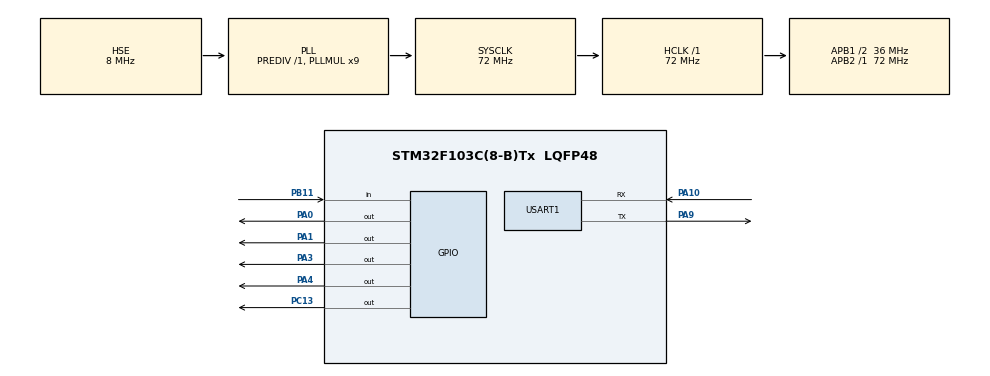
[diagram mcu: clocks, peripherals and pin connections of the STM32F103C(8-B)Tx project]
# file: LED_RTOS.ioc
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FREERTOS.Tasks01=ledTask,25,128,StartLedTask,Default,NULL,Dynamic,NULL,NULL;keyTask,26,128,StartKeyTask,Default,NULL,Dynamic,NULL,NULL;uartTask,27,256,StartUartTask,Default,NULL,Dynamic,NULL,NULL
Mcu.Family=STM32F1
Mcu.Name=STM32F103C(8-B)Tx
Mcu.Package=LQFP48
NVIC.PriorityGroup=NVIC_PRIORITYGROUP_4
NVIC.TIM2_IRQn=true\:15\:0\:false\:false\:true\:false\:false\:true\:true
NVIC.TimeBase=TIM2_IRQn
NVIC.TimeBaseIP=TIM2
NVIC.USART1_IRQn=true\:5\:0\:false\:false\:true\:true\:true\:true\:true
PA0-WKUP.Signal=GPIO_Output
PA1.Signal=GPIO_Output
PA10.Mode=Asynchronous
PA10.Signal=USART1_RX
PA13.Mode=Serial_Wire
PA13.Signal=SYS_JTMS-SWDIO
PA14.Mode=Serial_Wire
PA14.Signal=SYS_JTCK-SWCLK
PA3.Signal=GPIO_Output
PA4.Signal=GPIO_Output
PA9.Mode=Asynchronous
PA9.Signal=USART1_TX
PB11.GPIO_PuPd=GPIO_PULLUP
PB11.Signal=GPIO_Input
PC13-TAMPER-RTC.Signal=GPIO_Output
PC14-OSC32_IN.Mode=LSE-External-Oscillator
PC14-OSC32_IN.Signal=RCC_OSC32_IN
PC15-OSC32_OUT.Mode=LSE-External-Oscillator
PC15-OSC32_OUT.Signal=RCC_OSC32_OUT
PD0-OSC_IN.Mode=HSE-External-Oscillator
PD0-OSC_IN.Signal=RCC_OSC_IN
PD1-OSC_OUT.Mode=HSE-External-Oscillator
PD1-OSC_OUT.Signal=RCC_OSC_OUT
ProjectManager.HeapSize=0x200
ProjectManager.StackSize=0x400
ProjectManager.TargetToolchain=CMake
RCC.AHBFreq_Value=72000000
RCC.APB1CLKDivider=RCC_HCLK_DIV2
RCC.APB1Freq_Value=36000000
RCC.APB1TimFreq_Value=72000000
RCC.APB2Freq_Value=72000000
RCC.APB2TimFreq_Value=72000000
RCC.HCLKFreq_Value=72000000
RCC.PLLMUL=RCC_PLL_MUL9
RCC.PLLSourceVirtual=RCC_PLLSOURCE_HSE
RCC.SYSCLKFreq_VALUE=72000000
RCC.SYSCLKSource=RCC_SYSCLKSOURCE_PLLCLK
RCC.USBFreq_Value=72000000
USART1.VirtualMode=VM_ASYNC
VP_FREERTOS_VS_CMSIS_V2.Mode=CMSIS_V2
VP_SYS_VS_tim2.Mode=TIM2
board=custom

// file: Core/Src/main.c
/* USER CODE BEGIN Header */
/**
  ******************************************************************************
  * @file           : main.c
  * @brief          : Main program body
  ******************************************************************************
  * @attention
  *
  * Copyright (c) 2026 STMicroelectronics.
  * All rights reserved.
  *
  * This software is licensed under terms that can be found in the LICENSE file
  * in the root directory of this software component.
  * If no LICENSE file comes with this software, it is provided AS-IS.
  *
  ******************************************************************************
  */
/* USER CODE END Header */
#include "main.h"
#include "cmsis_os.h"
#include "usart.h"
#include "gpio.h"

void SystemClock_Config(void);
void MX_FREERTOS_Init(void);

int main(void)
{

  /* MCU Configuration--------------------------------------------------------*/

  /* Reset of all peripherals, Initializes the Flash interface and the Systick. */
  HAL_Init();

  /* Configure the system clock */
  SystemClock_Config();

  /* Initialize all configured peripherals */
  MX_GPIO_Init();
  MX_USART1_UART_Init();

  /* Init scheduler */
  osKernelInitialize();  /* Call init function for freertos objects (in cmsis_os2.c) */
  MX_FREERTOS_Init();

  /* Start scheduler */
  osKernelStart();

  /* We should never get here as control is now taken by the scheduler */

  /* Infinite loop */
  while (1)
  {

  }
}

void SystemClock_Config(void)
{
  RCC_OscInitTypeDef RCC_OscInitStruct = {0};
  RCC_ClkInitTypeDef RCC_ClkInitStruct = {0};

  /** Initializes the RCC Oscillators according to the specified parameters
  * in the RCC_OscInitTypeDef structure.
  */
  RCC_OscInitStruct.OscillatorType = RCC_OSCILLATORTYPE_HSE;
  RCC_OscInitStruct.HSEState = RCC_HSE_ON;
  RCC_OscInitStruct.HSEPredivValue = RCC_HSE_PREDIV_DIV1;
  RCC_OscInitStruct.HSIState = RCC_HSI_ON;
  RCC_OscInitStruct.PLL.PLLState = RCC_PLL_ON;
  RCC_OscInitStruct.PLL.PLLSource = RCC_PLLSOURCE_HSE;
  RCC_OscInitStruct.PLL.PLLMUL = RCC_PLL_MUL9;
  if (HAL_RCC_OscConfig(&RCC_OscInitStruct) != HAL_OK)
  {
    Error_Handler();
  }

  /** Initializes the CPU, AHB and APB buses clocks
  */
  RCC_ClkInitStruct.ClockType = RCC_CLOCKTYPE_HCLK|RCC_CLOCKTYPE_SYSCLK
                              |RCC_CLOCKTYPE_PCLK1|RCC_CLOCKTYPE_PCLK2;
  RCC_ClkInitStruct.SYSCLKSource = RCC_SYSCLKSOURCE_PLLCLK;
  RCC_ClkInitStruct.AHBCLKDivider = RCC_SYSCLK_DIV1;
  RCC_ClkInitStruct.APB1CLKDivider = RCC_HCLK_DIV2;
  RCC_ClkInitStruct.APB2CLKDivider = RCC_HCLK_DIV1;

  if (HAL_RCC_ClockConfig(&RCC_ClkInitStruct, FLASH_LATENCY_2) != HAL_OK)
  {
    Error_Handler();
  }
}

void HAL_TIM_PeriodElapsedCallback(TIM_HandleTypeDef *htim)
{
  if (htim->Instance == TIM2)
  {
    HAL_IncTick();
  }
}

void Error_Handler(void)
{
  __disable_irq();
  while (1)
  {
  }
}

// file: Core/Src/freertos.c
/* USER CODE BEGIN Header */
/**
  ******************************************************************************
  * File Name          : freertos.c
  * Description        : Code for freertos applications
  ******************************************************************************
  * @attention
  *
  * Copyright (c) 2026 STMicroelectronics.
  * All rights reserved.
  *
  * This software is licensed under terms that can be found in the LICENSE file
  * in the root directory of this software component.
  * If no LICENSE file comes with this software, it is provided AS-IS.
  *
  ******************************************************************************
  */
/* USER CODE END Header */

#include "FreeRTOS.h"
#include "task.h"
#include "main.h"
#include "cmsis_os.h"

/* USER CODE BEGIN Includes */
#include "usart.h"
#include <string.h>

/* USER CODE END Includes */

/* USER CODE BEGIN Variables */

// 串口接收字符队列
static osMessageQueueId_t uartRxQueueHandle;

// HAL 串口单字节接收缓冲区
static uint8_t uartRxByte;

// 0 = 全灭；1 = 流水
static volatile uint8_t g_ledMode = 1;
/* USER CODE END Variables */
/* Definitions for ledTask */
osThreadId_t ledTaskHandle;
const osThreadAttr_t ledTask_attributes = {
  .name = "ledTask",
  .stack_size = 128 * 4,
  .priority = (osPriority_t) osPriorityNormal1,
};
/* Definitions for keyTask */
osThreadId_t keyTaskHandle;
const osThreadAttr_t keyTask_attributes = {
  .name = "keyTask",
  .stack_size = 128 * 4,
  .priority = (osPriority_t) osPriorityNormal2,
};
/* Definitions for uartTask */
osThreadId_t uartTaskHandle;
const osThreadAttr_t uartTask_attributes = {
  .name = "uartTask",
  .stack_size = 256 * 4,
  .priority = (osPriority_t) osPriorityNormal3,
};

void StartLedTask(void *argument);
void StartKeyTask(void *argument);
void StartUartTask(void *argument);

void MX_FREERTOS_Init(void); /* (MISRA C 2004 rule 8.1) */

void MX_FREERTOS_Init(void) {

  /* USER CODE BEGIN RTOS_MUTEX */
  uartRxQueueHandle = osMessageQueueNew(64, sizeof(uint8_t), NULL);
   //创建一个消息队列，长度为64，元素大小为uint8_t
  if (uartRxQueueHandle == NULL)
  {
      Error_Handler();
  }

  /* add mutexes, ... */
  /* USER CODE END RTOS_MUTEX */

  /* Create the thread(s) */
  /* creation of ledTask */
  ledTaskHandle = osThreadNew(StartLedTask, NULL, &ledTask_attributes);

  /* creation of keyTask */
  keyTaskHandle = osThreadNew(StartKeyTask, NULL, &keyTask_attributes);

  /* creation of uartTask */
  uartTaskHandle = osThreadNew(StartUartTask, NULL, &uartTask_attributes);

}

void StartLedTask(void *argument)
{
  /* USER CODE BEGIN StartLedTask */

  const uint16_t flowPins[6]= {GPIO_PIN_0,
                              GPIO_PIN_1,
                              GPIO_PIN_3,
                              GPIO_PIN_4,
                              GPIO_PIN_3,
                              GPIO_PIN_1};
  const uint16_t allLeds =
        GPIO_PIN_0 | GPIO_PIN_1 |
        GPIO_PIN_3 | GPIO_PIN_4;

  uint8_t i = 0;
  /* Infinite loop */
  for(;;)
  {
    if(g_ledMode == 1)
    {
      HAL_GPIO_WritePin(GPIOA, allLeds, GPIO_PIN_SET);
      HAL_GPIO_WritePin(GPIOA, flowPins[i], GPIO_PIN_RESET);
      i=(i+1)%6;
      osDelay(300);
    }
    else
    {
      HAL_GPIO_WritePin(GPIOA, allLeds, GPIO_PIN_SET);
      osDelay(1000);
      HAL_GPIO_WritePin(GPIOA, allLeds, GPIO_PIN_RESET);
      osDelay(1000);
    }

  }
  /* USER CODE END StartLedTask */
}

void StartKeyTask(void *argument)
{
  /* USER CODE BEGIN StartKeyTask */

  /* Infinite loop */
  for (;;)
  {
      if (HAL_GPIO_ReadPin(GPIOB, GPIO_PIN_11) == GPIO_PIN_RESET)
      {
          // 2. 软件消抖：等 20ms
          osDelay(20);

          // 3. 再次确认是不是真的按下了
          if (HAL_GPIO_ReadPin(GPIOB, GPIO_PIN_11) == GPIO_PIN_RESET)
          {
              g_ledMode = 1 - g_ledMode;

          }
      }
      while(HAL_GPIO_ReadPin(GPIOB, GPIO_PIN_11) == GPIO_PIN_RESET)
      {
        osDelay(10);//
      }
      osDelay(10);
  }
  /* USER CODE END StartKeyTask */
}

void StartUartTask(void *argument)
{
  /* USER CODE BEGIN StartUartTask */
  uint8_t rx;              // 临时工：用来接从队列里拿出来的一瞬间的那个字节
  char command[20];        // 组装台：把接收到的散字符拼成完整的指令
  uint8_t index = 0;       // 进度条：记录组装台里放了多少个字符了
  uint8_t overflow = 0;    // 报警器：记录是不是有捣乱的超长指令
  // 启动第一次串口接收
  if (HAL_UART_Receive_IT(
          &huart1, &uartRxByte, 1) != HAL_OK)
  {
      Error_Handler();
  }
  /* Infinite loop */
  for (;;)
  {
      // 没有数据时，任务阻塞等待
      if (osMessageQueueGet(
              uartRxQueueHandle,
              &rx,
              NULL,
              osWaitForever) == osOK)
      {
          if (rx == '\r' || rx == '\n')
          {
              if (!overflow && index > 0)
              {
                  command[index] = '\0';

                  if (strcmp(command, "LED_FLOW") == 0)
                  {
                      g_ledMode = 1;
                  }
                  else if (strcmp(command, "LED_Blink") == 0)
                  {
                      g_ledMode = 0;
                  }
              }

              index = 0;
              overflow = 0;
          }
          else if (!overflow)
          {
              if (index < sizeof(command) - 1)
              {
                  command[index] = (char)rx;
                  index++;
              }
              else
              {
                  // 超长命令丢弃，直到下一个换行
                  overflow = 1;
              }
          }
      }
  }
  /* USER CODE END StartUartTask */
}

/* USER CODE BEGIN Application */

void HAL_UART_RxCpltCallback(UART_HandleTypeDef *huart)
{
    if (huart->Instance == USART1)// 判断是哪个串口触发的回调
    {
        // 把收到的字符送入队列
        osMessageQueuePut(
            uartRxQueueHandle,//  队列句柄
            &uartRxByte,//软件接收缓冲区地址
            0,// 优先级
            0// 不等待
        );

        // 重新启动下一字节接收
        HAL_UART_Receive_IT(
            &huart1,
            &uartRxByte,
            1
        );
    }
}
/* USER CODE END Application */
